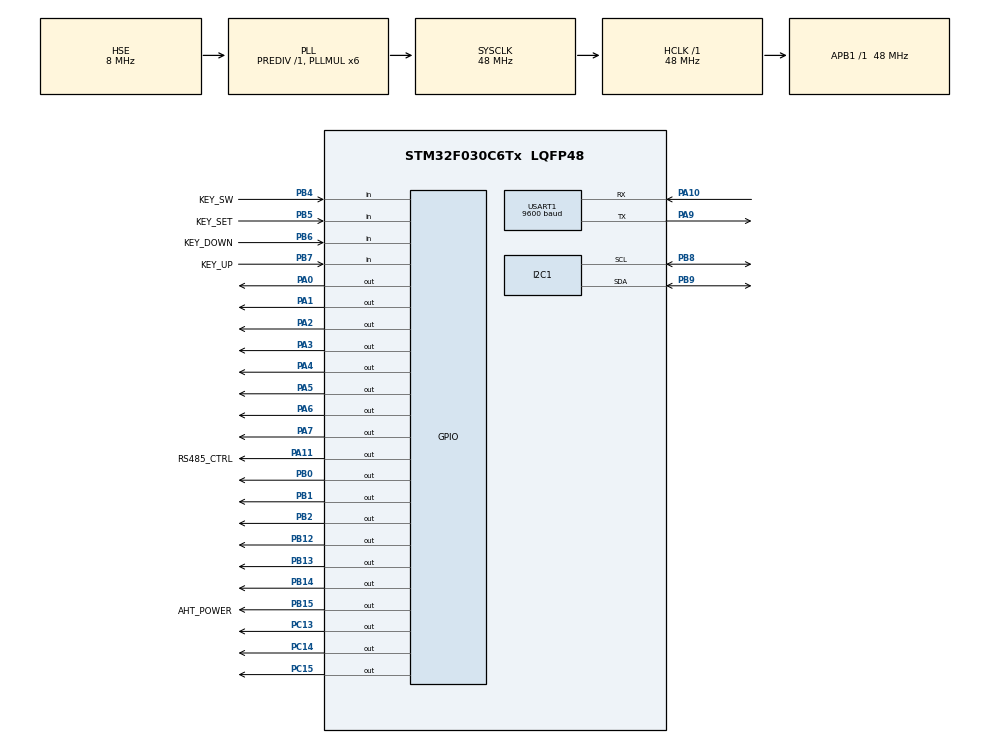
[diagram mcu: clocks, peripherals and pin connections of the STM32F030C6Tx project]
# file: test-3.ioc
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I2C1.Timing=0x00201D2B
Mcu.Family=STM32F0
Mcu.Name=STM32F030C6Tx
Mcu.Package=LQFP48
NVIC.TIM3_IRQn=true\:0\:0\:false\:false\:true\:true\:true\:true
NVIC.USART1_IRQn=true\:0\:0\:false\:false\:true\:true\:true\:true
PA0.Signal=GPIO_Output
PA1.Signal=GPIO_Output
PA10.Mode=Asynchronous
PA10.Signal=USART1_RX
PA11.GPIO_Label=RS485_CTRL
PA11.Signal=GPIO_Output
PA13.Mode=Serial_Wire
PA13.Signal=SYS_SWDIO
PA14.Mode=Serial_Wire
PA14.Signal=SYS_SWCLK
PA2.Signal=GPIO_Output
PA3.Signal=GPIO_Output
PA4.Signal=GPIO_Output
PA5.Signal=GPIO_Output
PA6.Signal=GPIO_Output
PA7.Signal=GPIO_Output
PA9.Mode=Asynchronous
PA9.Signal=USART1_TX
PB0.Signal=GPIO_Output
PB1.Signal=GPIO_Output
PB12.Signal=GPIO_Output
PB13.Signal=GPIO_Output
PB14.Signal=GPIO_Output
PB15.GPIO_Label=AHT_POWER
PB15.Signal=GPIO_Output
PB2.Signal=GPIO_Output
PB4.GPIO_Label=KEY_SW
PB4.Signal=GPIO_Input
PB5.GPIO_Label=KEY_SET
PB5.Signal=GPIO_Input
PB6.GPIO_Label=KEY_DOWN
PB6.Signal=GPIO_Input
PB7.GPIO_Label=KEY_UP
PB7.Signal=GPIO_Input
PB8.Mode=I2C
PB8.Signal=I2C1_SCL
PB9.Mode=I2C
PB9.Signal=I2C1_SDA
PC13.Signal=GPIO_Output
PC14-OSC32_IN.Signal=GPIO_Output
PC15-OSC32_OUT.Signal=GPIO_Output
PF0-OSC_IN.Mode=HSE-External-Oscillator
PF0-OSC_IN.Signal=RCC_OSC_IN
PF1-OSC_OUT.Mode=HSE-External-Oscillator
PF1-OSC_OUT.Signal=RCC_OSC_OUT
ProjectManager.HeapSize=0x200
ProjectManager.StackSize=0x400
ProjectManager.TargetToolchain=STM32CubeIDE
RCC.AHBFreq_Value=48000000
RCC.APB1Freq_Value=48000000
RCC.APB1TimFreq_Value=48000000
RCC.HCLKFreq_Value=48000000
RCC.PLLMUL=RCC_PLL_MUL6
RCC.PLLSourceVirtual=RCC_PLLSOURCE_HSE
RCC.SYSCLKFreq_VALUE=48000000
RCC.SYSCLKSource=RCC_SYSCLKSOURCE_PLLCLK
TIM3.Period=1999
TIM3.Prescaler=47
USART1.BaudRate=9600
USART1.VirtualMode-Asynchronous=VM_ASYNC
VP_TIM3_VS_ClockSourceINT.Mode=Internal
board=custom

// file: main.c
/* USER CODE BEGIN Header */
/**
  ******************************************************************************
  * @file           : main.c
  * @brief          : Main program body (包含双路显示 + 继电器模式设置)
  ******************************************************************************
  */
/* USER CODE END Header */
#include "main.h"
#include "i2c.h"
#include "tim.h"
#include "usart.h"
#include "gpio.h"

/* USER CODE BEGIN Includes */
#include "view.h"
#include "aht20.h"
#include "rs485.h"
#include "control.h"
#include "flash_storage.h"
/* USER CODE END Includes */

/* USER CODE BEGIN PTD */
typedef enum {
    MENU_IDLE = 0,
    MENU_C1, MENU_C2, // 温度上下限
    MENU_H1, MENU_H2, // 湿度上下限
    MENU_R1, MENU_R2  //
} Menu_State_t;
/* USER CODE END PTD */

/* USER CODE BEGIN PV */
// 双路传感器数据
AHT20_Data_t sensor_data_1;
AHT20_Data_t sensor_data_2;

// 菜单相关
Menu_State_t current_menu = MENU_IDLE;
uint32_t menu_timeout = 0;

// 显示切换相关
uint8_t current_disp_ch = 1;
uint32_t disp_switch_tick = 0;
/* USER CODE END PV */

void SystemClock_Config(void);
/* USER CODE BEGIN PFP */
void Key_Logic_Task(void);
void Display_Update_Task(void);
/* USER CODE END PFP */

int main(void)
{

  /* MCU Configuration--------------------------------------------------------*/

  /* Reset of all peripherals, Initializes the Flash interface and the Systick. */
  HAL_Init();

  /* Configure the system clock */
  SystemClock_Config();

  /* Initialize all configured peripherals */
  MX_GPIO_Init();
  MX_TIM3_Init();
  MX_I2C1_Init();
  MX_USART1_UART_Init();
  /* USER CODE BEGIN 2 */
  HAL_TIM_Base_Start_IT(&htim3);
  AHT20_Init();
  RS485_Init();
  Control_Init(); // 读取 Flash 参数
  /* USER CODE END 2 */

  /* Infinite loop */
  /* USER CODE BEGIN WHILE */
  uint32_t last_key_tick = 0;
  uint32_t last_1s_tick = 0;

  while (1)
  {
    /* USER CODE END WHILE */

    /* USER CODE BEGIN 3 */
    // 1. RS485
    RS485_Process_Task();

    // 2. 按键 (20ms)
    if(HAL_GetTick() - last_key_tick > 20)
    {
        last_key_tick = HAL_GetTick();
        Key_Logic_Task();
    }

    // 3. 业务逻辑 (1秒)
    if(HAL_GetTick() - last_1s_tick > 1000)
    {
        last_1s_tick = HAL_GetTick();

        // --- 读取传感器 (读取1路)
        AHT20_Read_Data(&sensor_data_1);
        // sensor_data_2.ok = 0; // 2路

        // --- 控制逻辑 ---
        Control_Process(&sensor_data_1);
        Control_Manual_Tick();

        // --- 5秒自动切换显示通道 ---
        if(current_menu == MENU_IDLE)
        {
            if(HAL_GetTick() - disp_switch_tick > 5000)
            {
                disp_switch_tick = HAL_GetTick();
                current_disp_ch++;
                if(current_disp_ch > 2) current_disp_ch = 1;
            }
        }

        // --- 刷新显示 ---
        Display_Update_Task();
    }
  }
  /* USER CODE END 3 */
}

void SystemClock_Config(void)
{
  RCC_OscInitTypeDef RCC_OscInitStruct = {0};
  RCC_ClkInitTypeDef RCC_ClkInitStruct = {0};
  RCC_PeriphCLKInitTypeDef PeriphClkInit = {0};

  /** Initializes the RCC Oscillators according to the specified parameters
  * in the RCC_OscInitTypeDef structure.
  */
  RCC_OscInitStruct.OscillatorType = RCC_OSCILLATORTYPE_HSI|RCC_OSCILLATORTYPE_HSE;
  RCC_OscInitStruct.HSEState = RCC_HSE_ON;
  RCC_OscInitStruct.HSIState = RCC_HSI_ON;
  RCC_OscInitStruct.HSICalibrationValue = RCC_HSICALIBRATION_DEFAULT;
  RCC_OscInitStruct.PLL.PLLState = RCC_PLL_ON;
  RCC_OscInitStruct.PLL.PLLSource = RCC_PLLSOURCE_HSE;
  RCC_OscInitStruct.PLL.PLLMUL = RCC_PLL_MUL6;
  RCC_OscInitStruct.PLL.PREDIV = RCC_PREDIV_DIV1;
  if (HAL_RCC_OscConfig(&RCC_OscInitStruct) != HAL_OK)
  {
    Error_Handler();
  }

  /** Initializes the CPU, AHB and APB buses clocks
  */
  RCC_ClkInitStruct.ClockType = RCC_CLOCKTYPE_HCLK|RCC_CLOCKTYPE_SYSCLK
                              |RCC_CLOCKTYPE_PCLK1;
  RCC_ClkInitStruct.SYSCLKSource = RCC_SYSCLKSOURCE_PLLCLK;
  RCC_ClkInitStruct.AHBCLKDivider = RCC_SYSCLK_DIV1;
  RCC_ClkInitStruct.APB1CLKDivider = RCC_HCLK_DIV1;

  if (HAL_RCC_ClockConfig(&RCC_ClkInitStruct, FLASH_LATENCY_1) != HAL_OK)
  {
    Error_Handler();
  }
  PeriphClkInit.PeriphClockSelection = RCC_PERIPHCLK_USART1|RCC_PERIPHCLK_I2C1;
  PeriphClkInit.Usart1ClockSelection = RCC_USART1CLKSOURCE_PCLK1;
  PeriphClkInit.I2c1ClockSelection = RCC_I2C1CLKSOURCE_HSI;
  if (HAL_RCCEx_PeriphCLKConfig(&PeriphClkInit) != HAL_OK)
  {
    Error_Handler();
  }
}

/* USER CODE BEGIN 4 */
// --- 按键核心逻辑 ---
void Key_Logic_Task(void)
{
    static uint32_t set_press_start = 0;
    static uint8_t set_long_pressed = 0;
    static uint8_t sw_done = 0, up_done = 0, down_done = 0;

    // 读取按键 (低电平有效)
    uint8_t k_set = (HAL_GPIO_ReadPin(GPIOB, KEY_SET_Pin) == GPIO_PIN_RESET);
    uint8_t k_sw  = (HAL_GPIO_ReadPin(GPIOB, KEY_SW_Pin)  == GPIO_PIN_RESET);
    uint8_t k_up  = (HAL_GPIO_ReadPin(GPIOB, KEY_UP_Pin)  == GPIO_PIN_RESET);
    uint8_t k_down= (HAL_GPIO_ReadPin(GPIOB, KEY_DOWN_Pin)== GPIO_PIN_RESET);

    // [SET] 键逻辑
    if(k_set) {
        if(set_press_start == 0) set_press_start = HAL_GetTick();
        if(!set_long_pressed && (HAL_GetTick() - set_press_start > 5000)) {
            set_long_pressed = 1;
            // 进/出菜单
            if(current_menu == MENU_IDLE) current_menu = MENU_C1;
            else { Flash_Save_Params(); current_menu = MENU_IDLE; }
            menu_timeout = HAL_GetTick();
        }
    } else {
        if(set_press_start != 0 && !set_long_pressed) { // 短按
            if(current_menu != MENU_IDLE) {
                current_menu++;
                if(current_menu > MENU_R2) { // 循环到 R2 后退出
                    Flash_Save_Params();
                    current_menu = MENU_IDLE;
                }
                menu_timeout = HAL_GetTick();
            }
        }
        set_press_start = 0;
        set_long_pressed = 0;
    }

    // [SW] 键逻辑
    if(k_sw && !sw_done) {
        if(current_menu == MENU_IDLE) {
            manual_heat_active = !manual_heat_active;
            manual_timer = manual_heat_active ? 1800 : 0;
        }
        sw_done = 1;
    }
    if(!k_sw) sw_done = 0;

    // [UP/DOWN] 键逻辑
    if(current_menu != MENU_IDLE) {
        if((k_up && !up_done) || (k_down && !down_done)) {
            menu_timeout = HAL_GetTick();
            float change = k_up ? 1.0f : -1.0f;

            switch(current_menu) {
                case MENU_C1: sys_params.temp_high += change; break;
                case MENU_C2: sys_params.temp_low  += change; break;
                case MENU_H1: sys_params.humi_high += change; break;
                case MENU_H2: sys_params.humi_low  += change; break;

                // 模式切换 (0 <-> 1)
                case MENU_R1: sys_params.relay1_mode = !sys_params.relay1_mode; break;
                case MENU_R2: sys_params.relay2_mode = !sys_params.relay2_mode; break;
                default: break;
            }
            if(k_up) up_done = 1;
            if(k_down) down_done = 1;
        }
    }
    if(!k_up) up_done = 0;
    if(!k_down) down_done = 0;

    // 超时退出
    if(current_menu != MENU_IDLE && (HAL_GetTick() - menu_timeout > 30000)) {
        Flash_Save_Params();
        current_menu = MENU_IDLE;
    }
}

// --- 显示更新逻辑 ---
void Display_Update_Task(void)
{
    // 菜单模式
    if(current_menu != MENU_IDLE) {
        uint8_t ch = 19, sub = 19;
        int val_disp = -1;
        uint8_t is_mode_menu = 0;

        switch(current_menu) {
            case MENU_C1: ch=12; sub=1; val_disp=(int)sys_params.temp_high; break;
            case MENU_C2: ch=12; sub=2; val_disp=(int)sys_params.temp_low;  break;
            case MENU_H1: ch=16; sub=1; val_disp=(int)sys_params.humi_high; break;
            case MENU_H2: ch=16; sub=2; val_disp=(int)sys_params.humi_low;  break;
            case MENU_R1: ch=20; sub=1; is_mode_menu=1; val_disp=sys_params.relay1_mode; break;
            case MENU_R2: ch=20; sub=2; is_mode_menu=1; val_disp=sys_params.relay2_mode; break;
            default: break;
        }

        DISP_BUFF[0] = ch; DISP_BUFF[1] = 18; DISP_BUFF[2] = sub;

        if(is_mode_menu) {
            // 显示 H(16) 或 F(15)
            DISP_BUFF[3] = 19;
            DISP_BUFF[4] = (val_disp == 0) ? 16 : 15;
            DISP_BUFF[5] = 19;
        } else {
            // 显示数字
            DISP_BUFF[3] = val_disp/10;
            DISP_BUFF[4] = val_disp%10;
            DISP_BUFF[5] = 19;
        }
    }
    // 正常模式 (双路切换)
    else {
        AHT20_Data_t *pData = (current_disp_ch == 1) ? &sensor_data_1 : &sensor_data_2;

        if(pData && pData->ok) {
            int t = (int)pData->temperature;
            int h = (int)pData->humidity;
            // 格式: 25C 80H (中间的C可以用12表示, H用16)
            // 或者第3位显示通道号? 目前代码用C/H分隔
            DISP_BUFF[0] = t/10; DISP_BUFF[1] = t%10; DISP_BUFF[2] = 12; // C
            DISP_BUFF[3] = h/10; DISP_BUFF[4] = h%10; DISP_BUFF[5] = 16; // H
        } else {
            // Err
            for(int i=0; i<6; i++) DISP_BUFF[i] = (i<3)?14:18;
        }
    }
}

void HAL_TIM_PeriodElapsedCallback(TIM_HandleTypeDef *htim) {
    if (htim->Instance == TIM3) View_Scan();
}

void Error_Handler(void) { __disable_irq(); while (1) {} }
/* USER CODE END 4 */
